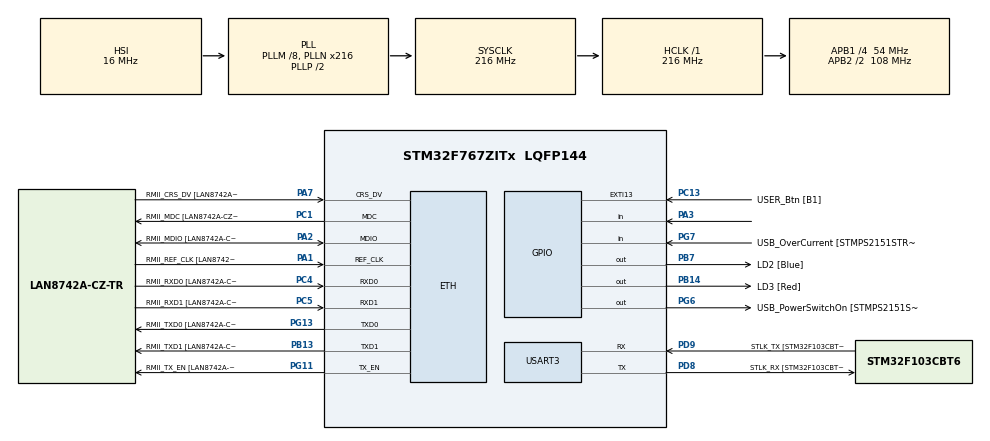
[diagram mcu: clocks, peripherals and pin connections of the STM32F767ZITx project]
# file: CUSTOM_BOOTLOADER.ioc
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ETH.MediaInterface=HAL_ETH_RMII_MODE
LWIP.BSP.number=1
LWIP.GATEWAY_ADDRESS=192.168.001.251
LWIP.IP_ADDRESS=192.168.001.050
LWIP.LWIP_DHCP=0
LWIP.LWIP_HTTPD=1
LWIP.NETMASK_ADDRESS=255.255.255.000
LWIP.Version=v2.1.2_Cube
LWIP0.BSP.STBoard=false
LWIP0.BSP.api=BSP_COMPONENT_DRIVER
LWIP0.BSP.component=LAN8742
LWIP0.BSP.instance=LAN8742
LWIP0.BSP.name=Driver_PHY
LWIP0.BSP.semaphore=S_LAN8742
LWIP0.BSP.solution=LAN8742
Mcu.Family=STM32F7
Mcu.Name=STM32F767ZITx
Mcu.Package=LQFP144
NVIC.PriorityGroup=NVIC_PRIORITYGROUP_4
PA1.GPIO_Label=RMII_REF_CLK [LAN8742A-CZ-TR_REFCLK0]
PA1.Mode=RMII
PA1.Signal=ETH_REF_CLK
PA10.GPIO_Label=USB_ID
PA10.Signal=USB_OTG_FS_ID
PA11.GPIO_Label=USB_DM
PA11.Signal=USB_OTG_FS_DM
PA12.GPIO_Label=USB_DP
PA12.Signal=USB_OTG_FS_DP
PA13.GPIO_Label=TMS
PA13.Signal=SYS_JTMS-SWDIO
PA14.GPIO_Label=TCK
PA14.Signal=SYS_JTCK-SWCLK
PA2.GPIO_Label=RMII_MDIO [LAN8742A-CZ-TR_MDIO]
PA2.Mode=RMII
PA2.Signal=ETH_MDIO
PA3.GPIO_PuPd=GPIO_PULLDOWN
PA3.Signal=GPIO_Input
PA7.GPIO_Label=RMII_CRS_DV [LAN8742A-CZ-TR_CRS_DV]
PA7.Mode=RMII
PA7.Signal=ETH_CRS_DV
PA8.GPIO_Label=USB_SOF [TP1]
PA8.Signal=USB_OTG_FS_SOF
PA9.GPIO_Label=USB_VBUS
PA9.Signal=USB_OTG_FS_VBUS
PB13.GPIO_Label=RMII_TXD1 [LAN8742A-CZ-TR_TXD1]
PB13.Mode=RMII
PB13.Signal=ETH_TXD1
PB14.GPIO_Label=LD3 [Red]
PB14.Signal=GPIO_Output
PB3.GPIO_Label=SW0
PB3.Signal=SYS_JTDO-SWO
PB7.GPIO_Label=LD2 [Blue]
PB7.Signal=GPIO_Output
PC1.GPIO_Label=RMII_MDC [LAN8742A-CZ-TR_MDC]
PC1.Mode=RMII
PC1.Signal=ETH_MDC
PC13.GPIO_Label=USER_Btn [B1]
PC13.Signal=GPXTI13
PC14/OSC32_IN.Signal=RCC_OSC32_IN
PC15/OSC32_OUT.Signal=RCC_OSC32_OUT
PC4.GPIO_Label=RMII_RXD0 [LAN8742A-CZ-TR_RXD0]
PC4.Mode=RMII
PC4.Signal=ETH_RXD0
PC5.GPIO_Label=RMII_RXD1 [LAN8742A-CZ-TR_RXD1]
PC5.Mode=RMII
PC5.Signal=ETH_RXD1
PD8.GPIO_Label=STLK_RX [STM32F103CBT6_PA3]
PD8.Mode=Asynchronous
PD8.Signal=USART3_TX
PD9.GPIO_Label=STLK_TX [STM32F103CBT6_PA2]
PD9.Mode=Asynchronous
PD9.Signal=USART3_RX
PG11.GPIO_Label=RMII_TX_EN [LAN8742A-CZ-TR_TXEN]
PG11.Mode=RMII
PG11.Signal=ETH_TX_EN
PG13.GPIO_Label=RMII_TXD0 [LAN8742A-CZ-TR_TXD0]
PG13.Mode=RMII
PG13.Signal=ETH_TXD0
PG6.GPIO_Label=USB_PowerSwitchOn [STMPS2151STR_EN]
PG6.Signal=GPIO_Output
PG7.GPIO_Label=USB_OverCurrent [STMPS2151STR_FAULT]
PG7.Signal=GPIO_Input
PH0/OSC_IN.GPIO_Label=MCO [STM32F103CBT6_PA8]
PH0/OSC_IN.Signal=RCC_OSC_IN
PH1/OSC_OUT.Signal=RCC_OSC_OUT
ProjectManager.HeapSize=0x200
ProjectManager.StackSize=0x400
ProjectManager.TargetToolchain=STM32CubeIDE
RCC.48MHZClocksFreq_Value=24000000
RCC.AHBFreq_Value=216000000
RCC.APB1CLKDivider=RCC_HCLK_DIV4
RCC.APB1Freq_Value=54000000
RCC.APB1TimFreq_Value=108000000
RCC.APB2CLKDivider=RCC_HCLK_DIV2
RCC.APB2Freq_Value=108000000
RCC.APB2TimFreq_Value=216000000
RCC.CortexFreq_Value=216000000
RCC.HCLKFreq_Value=216000000
RCC.HSE_VALUE=16000000
RCC.HSI_VALUE=16000000
RCC.LSE_VALUE=32768
RCC.PLLM=8
RCC.PLLMUL=RCC_PLL_MUL9
RCC.PLLN=216
RCC.PRESCALERUSB=RCC_USBCLKSOURCE_PLL_DIV1_5
RCC.SYSCLKFreq_VALUE=216000000
RCC.SYSCLKSource=RCC_SYSCLKSOURCE_PLLCLK
RCC.SYSCLKSourceVirtual=RCC_SYSCLKSOURCE_PLLCLK
RCC.USBFreq_Value=216000000
RCC.VCOOutputFreq_Value=432000000
USART3.VirtualMode-Asynchronous=VM_ASYNC
VP_CRC_VS_CRC.Mode=CRC_Activate
VP_LWIP_VS_Enabled.Mode=Enabled
board=NUCLEO-F767ZI

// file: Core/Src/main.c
/* USER CODE BEGIN Header */
/**
  ******************************************************************************
  * @file           : main.c
  * @brief          : Main program body
  ******************************************************************************
  * @attention
  *
  * Copyright (c) 2026 STMicroelectronics.
  * All rights reserved.
  *
  * This software is licensed under terms that can be found in the LICENSE file
  * in the root directory of this software component.
  * If no LICENSE file comes with this software, it is provided AS-IS.
  *
  ******************************************************************************
  */
/* USER CODE END Header */
#include "main.h"
#include "lwip.h"

/* USER CODE BEGIN Includes */
#include<stdio.h>
#include<string.h>
#include<stdbool.h>
#include "lwip/apps/httpd.h"
#include <string.h>
#include "http.h"
#include "ota.h"

/* USER CODE END Includes */

/* USER CODE BEGIN PM */
#define BOOT_CHECK_DURATION 3000
#define BLUE_LED GPIO_PIN_7
#define RED_LED GPIO_PIN_14

/* USER CODE END PM */

CRC_HandleTypeDef hcrc;

UART_HandleTypeDef huart3;

void SystemClock_Config(void);
static void MX_GPIO_Init(void);
static void MX_USART3_UART_Init(void);
static void MX_CRC_Init(void);
/* USER CODE BEGIN PFP */
static void goto_application( void );

/* USER CODE END PFP */

int main(void)
{

  /* MCU Configuration--------------------------------------------------------*/

  /* Reset of all peripherals, Initializes the Flash interface and the Systick. */
  HAL_Init();

  /* Configure the system clock */
  SystemClock_Config();

  /* Initialize all configured peripherals */
  MX_GPIO_Init();
  MX_USART3_UART_Init();
  MX_LWIP_Init();
  MX_CRC_Init();
  /* USER CODE BEGIN 2 */

  HAL_GPIO_WritePin(GPIOB, GPIO_PIN_14, GPIO_PIN_SET);

  printf("BOOTLOADER STARTED\r\n");
  HAL_Delay(3000);
  bool OTA_FLAG = 0;
  uint32_t last_tick = HAL_GetTick();
  while(1){

	   if((HAL_GetTick() - last_tick) > BOOT_CHECK_DURATION)
		   break;
	   if(!OTA_FLAG)
		   OTA_FLAG = HAL_GPIO_ReadPin(GPIOA, GPIO_PIN_3);
   }
  ETX_GNRL_CFG_ cfg;
  memcpy( &cfg,(ETX_GNRL_CFG_*)(ETX_CONFIG_FLASH_ADDR), sizeof(ETX_GNRL_CFG_) );
  OTA_FLAG = OTA_FLAG || (cfg.reboot_cause == ETX_OTA_REQUEST);

//  cfg.reboot_cause = ETX_NORMAL_BOOT;
//
//  while(1){
//
//	  if( write_cfg_to_flash( &cfg ) != HAL_OK ) {
//
//	      printf("OTA: failed to update reboot cause.\r\n");
//	  }
//
//  }

  if(OTA_FLAG){
	   printf("OTA FLAG SET\r\n");
	   http_application();
  }
  else {
      printf("OTA FLAG NOT SET\r\n");
      load_new_app();       // copies staged slot → 0x08040000 if pending
      goto_application();   // jumps to 0x08040000
  }

  /* USER CODE END 2 */

  /* Infinite loop */
  while (1)
  {

  }
}

void SystemClock_Config(void)
{
  RCC_OscInitTypeDef RCC_OscInitStruct = {0};
  RCC_ClkInitTypeDef RCC_ClkInitStruct = {0};

  /** Configure the main internal regulator output voltage
  */
  __HAL_RCC_PWR_CLK_ENABLE();
  __HAL_PWR_VOLTAGESCALING_CONFIG(PWR_REGULATOR_VOLTAGE_SCALE1);

  /** Initializes the RCC Oscillators according to the specified parameters
  * in the RCC_OscInitTypeDef structure.
  */
  RCC_OscInitStruct.OscillatorType = RCC_OSCILLATORTYPE_HSI;
  RCC_OscInitStruct.HSIState = RCC_HSI_ON;
  RCC_OscInitStruct.HSICalibrationValue = RCC_HSICALIBRATION_DEFAULT;
  RCC_OscInitStruct.PLL.PLLState = RCC_PLL_ON;
  RCC_OscInitStruct.PLL.PLLSource = RCC_PLLSOURCE_HSI;
  RCC_OscInitStruct.PLL.PLLM = 8;
  RCC_OscInitStruct.PLL.PLLN = 216;
  RCC_OscInitStruct.PLL.PLLP = RCC_PLLP_DIV2;
  RCC_OscInitStruct.PLL.PLLQ = 2;
  RCC_OscInitStruct.PLL.PLLR = 2;
  if (HAL_RCC_OscConfig(&RCC_OscInitStruct) != HAL_OK)
  {
    Error_Handler();
  }

  /** Activate the Over-Drive mode
  */
  if (HAL_PWREx_EnableOverDrive() != HAL_OK)
  {
    Error_Handler();
  }

  /** Initializes the CPU, AHB and APB buses clocks
  */
  RCC_ClkInitStruct.ClockType = RCC_CLOCKTYPE_HCLK|RCC_CLOCKTYPE_SYSCLK
                              |RCC_CLOCKTYPE_PCLK1|RCC_CLOCKTYPE_PCLK2;
  RCC_ClkInitStruct.SYSCLKSource = RCC_SYSCLKSOURCE_PLLCLK;
  RCC_ClkInitStruct.AHBCLKDivider = RCC_SYSCLK_DIV1;
  RCC_ClkInitStruct.APB1CLKDivider = RCC_HCLK_DIV4;
  RCC_ClkInitStruct.APB2CLKDivider = RCC_HCLK_DIV2;

  if (HAL_RCC_ClockConfig(&RCC_ClkInitStruct, FLASH_LATENCY_7) != HAL_OK)
  {
    Error_Handler();
  }
}

static void MX_CRC_Init(void)
{

  hcrc.Instance = CRC;
  hcrc.Init.DefaultPolynomialUse = DEFAULT_POLYNOMIAL_ENABLE;
  hcrc.Init.DefaultInitValueUse = DEFAULT_INIT_VALUE_ENABLE;
  hcrc.Init.InputDataInversionMode = CRC_INPUTDATA_INVERSION_NONE;
  hcrc.Init.OutputDataInversionMode = CRC_OUTPUTDATA_INVERSION_DISABLE;
  hcrc.InputDataFormat = CRC_INPUTDATA_FORMAT_BYTES;
  if (HAL_CRC_Init(&hcrc) != HAL_OK)
  {
    Error_Handler();
  }

}

static void MX_USART3_UART_Init(void)
{

  huart3.Instance = USART3;
  huart3.Init.BaudRate = 115200;
  huart3.Init.WordLength = UART_WORDLENGTH_8B;
  huart3.Init.StopBits = UART_STOPBITS_1;
  huart3.Init.Parity = UART_PARITY_NONE;
  huart3.Init.Mode = UART_MODE_TX_RX;
  huart3.Init.HwFlowCtl = UART_HWCONTROL_NONE;
  huart3.Init.OverSampling = UART_OVERSAMPLING_16;
  huart3.Init.OneBitSampling = UART_ONE_BIT_SAMPLE_DISABLE;
  huart3.AdvancedInit.AdvFeatureInit = UART_ADVFEATURE_NO_INIT;
  if (HAL_UART_Init(&huart3) != HAL_OK)
  {
    Error_Handler();
  }

}

static void MX_GPIO_Init(void)
{
  GPIO_InitTypeDef GPIO_InitStruct = {0};

  /* GPIO Ports Clock Enable */
  __HAL_RCC_GPIOC_CLK_ENABLE();
  __HAL_RCC_GPIOH_CLK_ENABLE();
  __HAL_RCC_GPIOA_CLK_ENABLE();
  __HAL_RCC_GPIOB_CLK_ENABLE();
  __HAL_RCC_GPIOD_CLK_ENABLE();
  __HAL_RCC_GPIOG_CLK_ENABLE();

  /*Configure GPIO pin Output Level */
  HAL_GPIO_WritePin(GPIOB, LD3_Pin|LD2_Pin, GPIO_PIN_RESET);

  /*Configure GPIO pin Output Level */
  HAL_GPIO_WritePin(USB_PowerSwitchOn_GPIO_Port, USB_PowerSwitchOn_Pin, GPIO_PIN_RESET);

  /*Configure GPIO pin : USER_Btn_Pin */
  GPIO_InitStruct.Pin = USER_Btn_Pin;
  GPIO_InitStruct.Mode = GPIO_MODE_IT_RISING;
  GPIO_InitStruct.Pull = GPIO_NOPULL;
  HAL_GPIO_Init(USER_Btn_GPIO_Port, &GPIO_InitStruct);

  /*Configure GPIO pin : PA3 */
  GPIO_InitStruct.Pin = GPIO_PIN_3;
  GPIO_InitStruct.Mode = GPIO_MODE_INPUT;
  GPIO_InitStruct.Pull = GPIO_PULLDOWN;
  HAL_GPIO_Init(GPIOA, &GPIO_InitStruct);

  /*Configure GPIO pins : LD3_Pin LD2_Pin */
  GPIO_InitStruct.Pin = LD3_Pin|LD2_Pin;
  GPIO_InitStruct.Mode = GPIO_MODE_OUTPUT_PP;
  GPIO_InitStruct.Pull = GPIO_NOPULL;
  GPIO_InitStruct.Speed = GPIO_SPEED_FREQ_LOW;
  HAL_GPIO_Init(GPIOB, &GPIO_InitStruct);

  /*Configure GPIO pin : USB_PowerSwitchOn_Pin */
  GPIO_InitStruct.Pin = USB_PowerSwitchOn_Pin;
  GPIO_InitStruct.Mode = GPIO_MODE_OUTPUT_PP;
  GPIO_InitStruct.Pull = GPIO_NOPULL;
  GPIO_InitStruct.Speed = GPIO_SPEED_FREQ_LOW;
  HAL_GPIO_Init(USB_PowerSwitchOn_GPIO_Port, &GPIO_InitStruct);

  /*Configure GPIO pin : USB_OverCurrent_Pin */
  GPIO_InitStruct.Pin = USB_OverCurrent_Pin;
  GPIO_InitStruct.Mode = GPIO_MODE_INPUT;
  GPIO_InitStruct.Pull = GPIO_NOPULL;
  HAL_GPIO_Init(USB_OverCurrent_GPIO_Port, &GPIO_InitStruct);

  /*Configure GPIO pins : USB_SOF_Pin USB_ID_Pin USB_DM_Pin USB_DP_Pin */
  GPIO_InitStruct.Pin = USB_SOF_Pin|USB_ID_Pin|USB_DM_Pin|USB_DP_Pin;
  GPIO_InitStruct.Mode = GPIO_MODE_AF_PP;
  GPIO_InitStruct.Pull = GPIO_NOPULL;
  GPIO_InitStruct.Speed = GPIO_SPEED_FREQ_VERY_HIGH;
  GPIO_InitStruct.Alternate = GPIO_AF10_OTG_FS;
  HAL_GPIO_Init(GPIOA, &GPIO_InitStruct);

  /*Configure GPIO pin : USB_VBUS_Pin */
  GPIO_InitStruct.Pin = USB_VBUS_Pin;
  GPIO_InitStruct.Mode = GPIO_MODE_INPUT;
  GPIO_InitStruct.Pull = GPIO_NOPULL;
  HAL_GPIO_Init(USB_VBUS_GPIO_Port, &GPIO_InitStruct);

}

/* USER CODE BEGIN 4 */
#ifdef __GNUC__
  /* With GCC, small printf (option LD Linker->Libraries->Small printf
     set to 'Yes') calls __io_putchar() */
int __io_putchar(int ch)
#else
int fputc(int ch, FILE *f)
#endif /* __GNUC__ */
{
  /* Place your implementation of fputc here */
  /* e.g. write a character to the UART3 and Loop until the end of transmission */
  HAL_UART_Transmit(&huart3, (uint8_t *)&ch, 1, HAL_MAX_DELAY);
  return ch;
}

/******************************************************************************************************************/

static void goto_application(void)
{
  printf("Gonna Jump to Application\r\n");

  void (*app_reset_handler)(void) = (void*)(*((volatile uint32_t*) (ETX_APP_FLASH_ADDR + 4U)));

  HAL_RCC_DeInit();
  HAL_DeInit();
  __set_MSP(*(volatile uint32_t*) ETX_APP_FLASH_ADDR);
  SysTick->CTRL = 0;
  SysTick->LOAD = 0;
  SysTick->VAL = 0;

  // Turn OFF the Green Led to tell the user that Bootloader is not running
 // HAL_GPIO_WritePin(GPIOB, GPIO_PIN_0, GPIO_PIN_RESET );    //Green LED OFF
  app_reset_handler();    //call the app reset handler
}

/* USER CODE END 4 */

void Error_Handler(void)
{
  __disable_irq();
  while (1)
  {
  }
}
